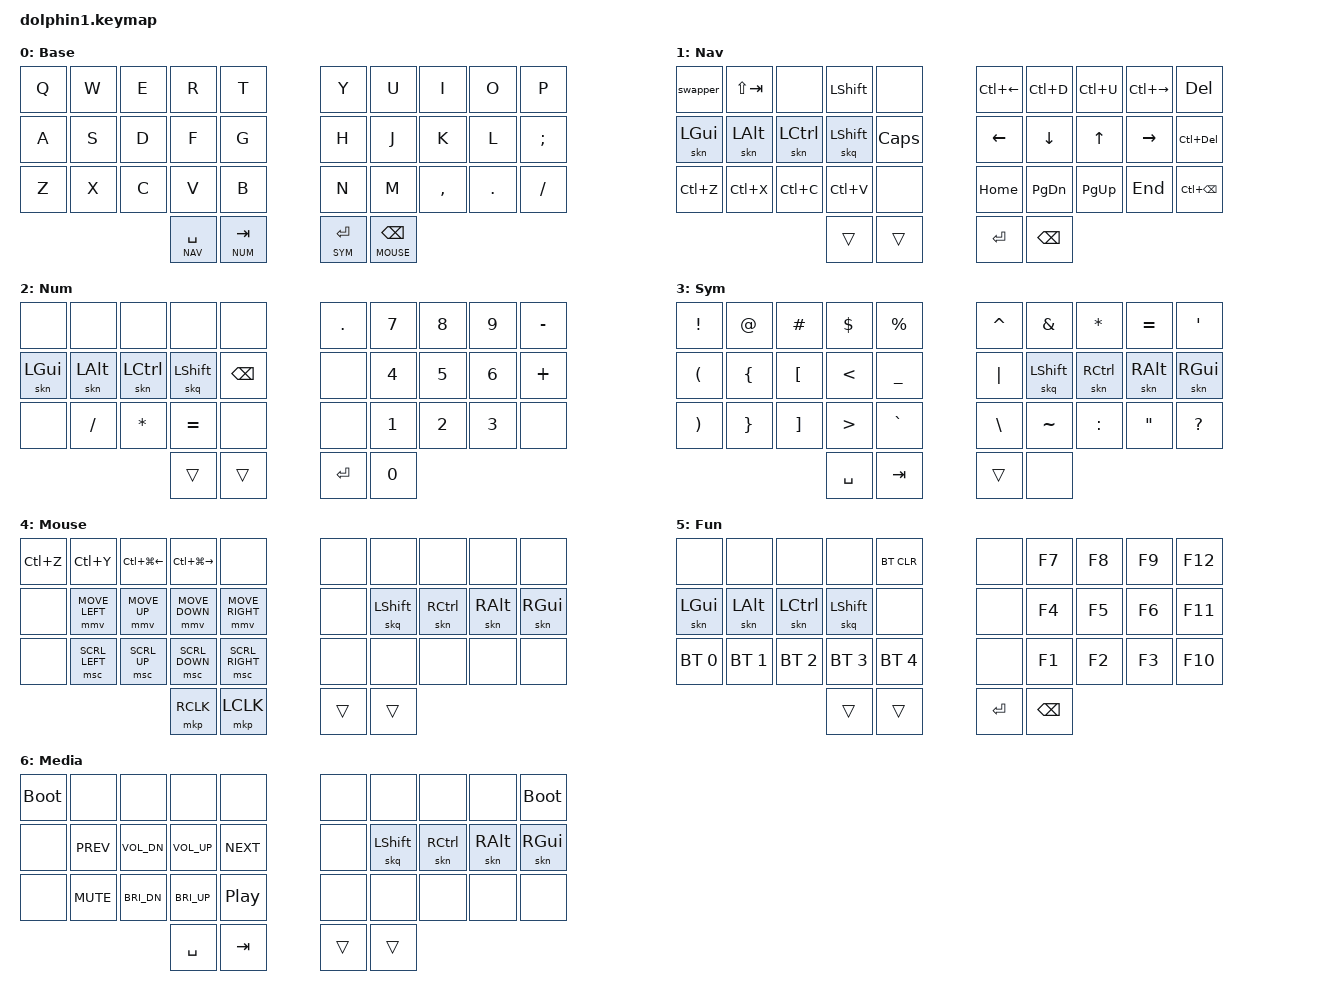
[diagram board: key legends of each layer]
/*
 * Dolphin1 34 键布局
 * 基于 Ferris Sweep，自制 PCB（SW 编号与网络标号 1:1 映射）
 *
 * 布局：3x5+2 (每侧 17 键)
 * 拇指键：
 *   左: SPACE(NAV) TAB(NUM)  |  右: ENTER(SYM) BSPC(MOUSE)
 *   FUN = 左双拇指 combo  |  MEDIA = 右双拇指 combo
 *
 * Layer 0: Base     - QWERTY
 * Layer 1: Nav      - 左手 OSM + 右手 Vim HJKL
 * Layer 2: Numpad   - 左手算术运算 + 右手纯数字九宫格
 * Layer 3: Symbols  - 左手符号区 + 右手 OSM 修饰键
 * Layer 4: Mouse    - 左手鼠标移动/滚轮/点击 + 右手 OSM
 * Layer 5: Function - 左手 OSM/BT + 右手 F 键九宫格
 * Layer 6: Media    - 左手媒体/音量/亮度 + 右手 OSM
 *
 * SPDX-License-Identifier: MIT
 */

#include <behaviors.dtsi>
#include <dt-bindings/zmk/keys.h>
#include <dt-bindings/zmk/bt.h>
#include <dt-bindings/zmk/outputs.h>

#define ZMK_POINTING_DEFAULT_MOVE_VAL 1500
#define ZMK_POINTING_DEFAULT_SCRL_VAL 20
#include <dt-bindings/zmk/pointing.h>

#define BASE  0
#define NAV   1
#define NUM   2
#define SYM   3
#define MOUSE 4
#define FUN   5
#define MEDIA 6

// Dolphin1 键位编号 (34 键):
//  0  1  2  3  4       5  6  7  8  9
// 10 11 12 13 14      15 16 17 18 19
// 20 21 22 23 24      25 26 27 28 29
//             30 31  32 33

&mmv {
    acceleration-exponent = <1>;
    time-to-max-speed-ms = <500>;
    delay-ms = <0>;
};

&msc {
    acceleration-exponent = <1>;
    time-to-max-speed-ms = <500>;
    delay-ms = <0>;
};

&caps_word {
    continue-list = <UNDERSCORE MINUS BSPC DEL>;
};

/ {
    behaviors {
        skq: sticky_key_quick_release {
            compatible = "zmk,behavior-sticky-key";
            #binding-cells = <1>;
            bindings = <&kp>;
            release-after-ms = <1000>;
            quick-release;
            ignore-modifiers;
        };

        skn: sticky_key_normal {
            compatible = "zmk,behavior-sticky-key";
            #binding-cells = <1>;
            bindings = <&kp>;
            release-after-ms = <1000>;
            ignore-modifiers;
        };

        tlt: thumb_layer_tap {
            compatible = "zmk,behavior-hold-tap";
            #binding-cells = <2>;
            flavor = "balanced";
            tapping-term-ms = <200>;
            quick-tap-ms = <150>;
            bindings = <&mo>, <&kp>;
        };
    };

    macros {
        swapper: swapper {
            compatible = "zmk,behavior-macro";
            #binding-cells = <0>;
            wait-ms = <30>;
            tap-ms = <30>;
            bindings
                = <&macro_press &kp LALT>
                , <&macro_tap &kp TAB>
                , <&macro_pause_for_release>
                , <&macro_release &kp LALT>
                ;
        };
    };

    combos {
        compatible = "zmk,combos";

        // S + D = Escape
        combo_esc {
            timeout-ms = <50>;
            key-positions = <11 12>;
            bindings = <&kp ESC>;
            layers = <BASE>;
            require-prior-idle-ms = <200>;
        };


        // J + K = LSHFT
        combo_lshft {
            timeout-ms = <50>;
            key-positions = <16 17>;
            bindings = <&kp LSHFT>;
            layers = <BASE>;
            require-prior-idle-ms = <150>;
        };

        // 左双拇指 = FUN 层
        combo_fun_layer {
            timeout-ms = <50>;
            key-positions = <30 31>;
            bindings = <&mo FUN>;
            layers = <BASE>;
        };

        // 右双拇指 = MEDIA 层
        combo_media_layer {
            timeout-ms = <50>;
            key-positions = <32 33>;
            bindings = <&mo MEDIA>;
            layers = <BASE>;
        };
    };

    keymap {
        compatible = "zmk,keymap";

        default_layer {
            display-name = "Base";
// ┌─────┬─────┬─────┬─────┬─────┐   ┌─────┬─────┬─────┬─────┬─────┐
// │  Q  │  W  │  E  │  R  │  T  │   │  Y  │  U  │  I  │  O  │  P  │
// ├─────┼─────┼─────┼─────┼─────┤   ├─────┼─────┼─────┼─────┼─────┤
// │  A  │  S  │  D  │  F  │  G  │   │  H  │  J  │  K  │  L  │  ;  │
// ├─────┼─────┼─────┼─────┼─────┤   ├─────┼─────┼─────┼─────┼─────┤
// │  Z  │  X  │  C  │  V  │  B  │   │  N  │  M  │  ,  │  .  │  /  │
// └─────┴─────┴─────┼─────┼─────┤   ├─────┼─────┼─────┴─────┴─────┘
//                   │SPACE│ TAB │   │ENTER│BSPC │
//                   │(NAV)│(NUM)│   │(SYM)│(MOU)│
//                   └─────┴─────┘   └─────┴─────┘
            bindings = <
&kp Q  &kp W  &kp E  &kp R  &kp T       &kp Y  &kp U  &kp I      &kp O    &kp P
&kp A  &kp S  &kp D  &kp F  &kp G       &kp H  &kp J  &kp K      &kp L    &kp SEMI
&kp Z  &kp X  &kp C  &kp V  &kp B       &kp N  &kp M  &kp COMMA  &kp DOT  &kp FSLH
              &tlt NAV SPACE  &tlt NUM TAB       &tlt SYM RET  &tlt MOUSE BSPC
            >;
        };

        nav_layer {
            display-name = "Nav";
// ┌─────┬─────┬─────┬─────┬─────┐   ┌─────┬─────┬─────┬─────┬─────┐
// │ SWP │S-TAB│none │LSHFT│none │   │C(←) │ C-D │ C-U │C(→) │ DEL │
// ├─────┼─────┼─────┼─────┼─────┤   ├─────┼─────┼─────┼─────┼─────┤
// │ GUI │ ALT │CTRL │LSHFT│CAPW │   │  ←  │  ↓  │  ↑  │  →  │C(DEL)│
// ├─────┼─────┼─────┼─────┼─────┤   ├─────┼─────┼─────┼─────┼─────┤
// │C(Z) │C(X) │C(C) │C(V) │  ME │PgDn │PgUp │ END │C(BS)│
// └─────┴─────┴─────┼─────┼─────┤   ├─────┼─────┼─────┴─────┴─────┘
//                   │▓▓▓▓▓│     │   │     │     │
//                   └─────┴─────┘   └─────┴─────┘
            bindings = <
&swapper   &kp LS(TAB)  &none    &kp LSHFT  &none       &kp LC(LEFT) &kp LC(D)  &kp LC(U)  &kp LC(RIGHT) &kp DEL
&skn LGUI  &skn LALT    &skn LCTRL &skq LSHFT &kp CAPS      &kp LEFT     &kp DOWN   &kp UP     &kp RIGHT     &kp LC(DEL)
&kp LC(Z)  &kp LC(X)    &kp LC(C)  &kp LC(V)  &none           &kp HOME     &kp PG_DN  &kp PG_UP  &kp END       &kp LC(BSPC)
                                    &trans     &trans          &kp RET       &kp BSPC
            >;
        };

        num_layer {
            display-name = "Num";
// ┌─────┬─────┬─────┬─────┬─────┐   ┌─────┬─────┬─────┬─────┬─────┐
// │     │     │     │     │     │   │  .  │  7  │  8  │  9  │  -  │
// ├─────┼─────┼─────┼─────┼─────┤   ├─────┼─────┼─────┼─────┼─────┤
// │ GUI │ ALT │CTRL │LSHFT│BSPC │   │     │  4  │  5  │  6  │  +  │
// ├─────┼─────┼─────┼─────┼─────┤   ├─────┼─────┼─────┼─────┼─────┤
// │     │  /  │  *  │  =  │     │   │     │  1  │  2  │  3  │     │
// └─────┴─────┴─────┼─────┼─────┤   ├─────┼─────┼─────┴─────┴─────┘
//                   │     │▓▓▓▓▓│   │     │  0  │
//                   └─────┴─────┘   └─────┴─────┘
            bindings = <
&none      &none      &none       &none      &none           &kp DOT   &kp N7  &kp N8  &kp N9  &kp MINUS
&skn LGUI  &skn LALT  &skn LCTRL  &skq LSHFT &kp BSPC       &none     &kp N4  &kp N5  &kp N6  &kp PLUS
&none      &kp FSLH   &kp ASTRK   &kp EQUAL  &none           &none     &kp N1  &kp N2  &kp N3  &none
                                   &trans     &trans          &kp RET    &kp N0
            >;
        };

        sym_layer {
            display-name = "Sym";
// ┌─────┬─────┬─────┬─────┬─────┐   ┌─────┬─────┬─────┬─────┬─────┐
// │  !  │  @  │  #  │  $  │  %  │   │  ^  │  &  │  *  │  =  │  '  │
// ├─────┼─────┼─────┼─────┼─────┤   ├─────┼─────┼─────┼─────┼─────┤
// │  (  │  {  │  [  │  <  │  _  │   │  |  │LSHFT│CTRL │ ALT │ GUI │
// ├─────┼─────┼─────┼─────┼─────┤   ├─────┼─────┼─────┼─────┼─────┤
// │  )  │  }  │  ]  │  >  │  `  │   │  \  │  ~  │  :  │  "  │  ?  │
// └─────┴─────┴─────┼─────┼─────┤   ├─────┼─────┼─────┴─────┴─────┘
//                   │     │     │   │▓▓▓▓▓│     │
//                   └─────┴─────┘   └─────┴─────┘
            bindings = <
&kp EXCL  &kp AT    &kp HASH  &kp DLLR  &kp PRCNT      &kp CARET  &kp AMPS    &kp ASTRK   &kp EQUAL  &kp SQT
&kp LPAR  &kp LBRC  &kp LBKT  &kp LT    &kp UNDER      &kp PIPE   &skq LSHFT  &skn RCTRL  &skn RALT  &skn RGUI
&kp RPAR  &kp RBRC  &kp RBKT  &kp GT    &kp GRAVE      &kp BSLH   &kp TILDE   &kp COLON   &kp DQT    &kp QMARK
                               &kp SPACE    &kp TAB          &trans     &none
            >;
        };

        mouse_layer {
            display-name = "Mouse";
// ┌─────┬─────┬─────┬─────┬─────┐   ┌─────┬─────┬─────┬─────┬─────┐
// │UNDO │REDO │VD_L │VD_R │     │   │     │     │     │     │     │
// ├─────┼─────┼─────┼─────┼─────┤   ├─────┼─────┼─────┼─────┼─────┤
// │     │ ML  │ MU  │ MD  │ MR  │   │     │LSHFT│CTRL │ ALT │ GUI │
// ├─────┼─────┼─────┼─────┼─────┤   ├─────┼─────┼─────┼─────┼─────┤
// │     │WH_L │WH_U │WH │   │     │     │     │     │     │
// └─────┴─────┴─────┼─────┼─────┤   ├─────┼─────┼─────┴─────┴─────┘
//                   │RCLK │LCLK │   │     │▓▓▓▓▓│
//                   └─────┴─────┘   └─────┴─────┘
            bindings = <
&kp LC(Z)  &kp LC(Y)      &kp LC(LG(LEFT)) &kp LC(LG(RIGHT)) &none               &none   &none      &none      &none     &none
&none      &mmv MOVE_LEFT &mmv MOVE_UP     &mmv MOVE_DOWN     &mmv MOVE_RIGHT     &none   &skq LSHFT &skn RCTRL &skn RALT &skn RGUI
&none      &msc SCRL_LEFT &msc SCRL_UP     &msc SCRL_DOWN     &msc SCRL_RIGHT     &none   &none      &none      &none     &none
                                            &mkp RCLK          &mkp LCLK           &trans  &trans
            >;
        };

        fun_layer {
            display-name = "Fun";
// ┌─────┬─────┬─────┬─────┬─────┐   ┌─────┬─────┬─────┬─────┬─────┐
// │CANCL│ BLE │ USB │     │BTCLR│   │     │ F7  │ F8  │ F9  │ F12 │
// ├─────┼─────┼─────┼─────┼─────┤   ├─────┼─────┼─────┼─────┼─────┤
// │ GUI │ ALT │CTRL │LSHFT│     │   │     │ F4  │ F5  │ F6  │ F11 │
// ├─────┼─────┼─────┼─────┼─────┤   ├─────┼─────┼─────┼─────┼─────┤
// │ BT0 │ BT1 │ BT2 │ BT3 │ BT4 │   │     │ F1  │ F2  │ F3  │ F10 │
// └─────┴─────┴─────┼─────┼─────┤   ├─────┼─────┼─────┴─────┴─────┘
//                   │     │     │   │     │     │
//                   └─────┴─────┘   └─────┴─────┘
            bindings = <
&none  &none  &none  &none         &bt BT_CLR       &none   &kp F7  &kp F8  &kp F9  &kp F12
&skn LGUI     &skn LALT     &skn LCTRL    &skq LSHFT    &none             &none   &kp F4  &kp F5  &kp F6  &kp F11
&bt BT_SEL 0  &bt BT_SEL 1  &bt BT_SEL 2  &bt BT_SEL 3 &bt BT_SEL 4             &none   &kp F1  &kp F2  &kp F3  &kp F10
                                           &trans        &trans           &kp RET  &kp BSPC
            >;
        };

        media_layer {
            display-name = "Media";
// ┌─────┬─────┬─────┬─────┬─────┐   ┌─────┬─────┬─────┬─────┬─────┐
// │BOOT │     │     │     │     │   │     │     │     │     │BOOT │
// ├─────┼─────┼─────┼─────┼─────┤   ├─────┼─────┼─────┼─────┼─────┤
// │     │PREV │VOL_D│VOL_U│NEXT │   │     │LSHFT│CTRL │ ALT │ GUI │
// ├─────┼─────┼─────┼─────┼─────┤   ├─────┼─────┼─────┼─────┼─────┤
// │     │MUTE │BRI_D│BRI_U│PLAY │   │     │     │     │     │     │
// └─────┴─────┴─────┼─────┼─────┤   ├─────┼─────┼─────┴─────┴─────┘
//                   │     │     │   │     │     │
//                   └─────┴─────┘   └─────┴─────┘
            bindings = <
&bootloader  &none       &none        &none        &none           &none   &none      &none      &none     &bootloader
&none   &kp C_PREV  &kp C_VOL_DN &kp C_VOL_UP &kp C_NEXT     &none   &skq LSHFT &skn RCTRL &skn RALT &skn RGUI
&none   &kp C_MUTE  &kp C_BRI_DN &kp C_BRI_UP &kp C_PP       &none   &none      &none      &none     &none
                                 &kp SPACE    &kp TAB          &trans  &trans
            >;
        };
    };
};
